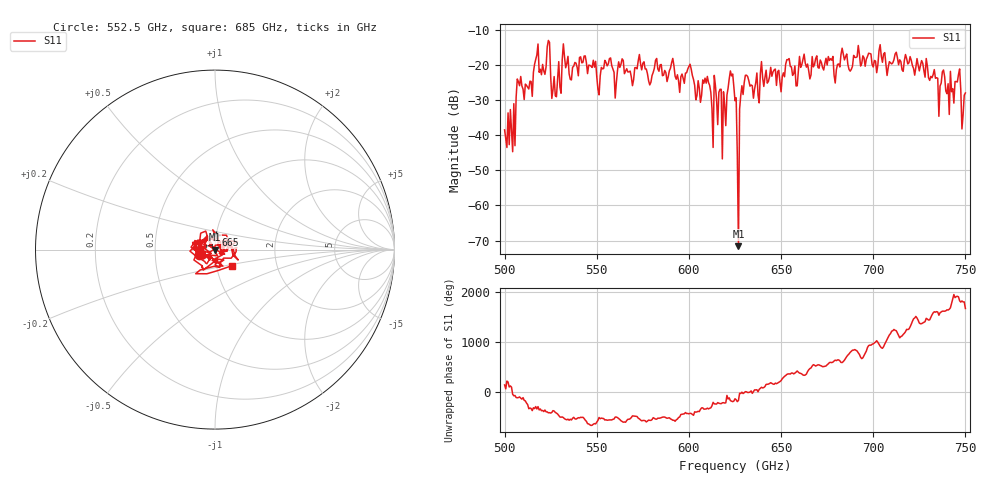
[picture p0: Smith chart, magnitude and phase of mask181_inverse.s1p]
!Created with skrf (http://scikit-rf.org).
# GHz S MA R 50.0
!freq magS11 angS11
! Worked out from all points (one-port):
!   401 points, 500 GHz to 750 GHz, reference 50 ohm
!   lowest |S11| = -71.6 dB at 626.9 GHz (marker M1), VSWR 1.00, Z = 50 - j0.00565 ohm
!   |S11| at or under -10 dB: start of sweep to end of sweep
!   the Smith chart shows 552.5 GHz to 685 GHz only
!   S11 on the Smith chart (normalised r, x): 552.5 GHz: 0.84, -0.05; 665 GHz: 1.00, +0.16; 685 GHz: 1.19, -0.22
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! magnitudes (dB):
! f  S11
! 500 GHz  -38.5
! 505 GHz  -31.1
! 507.5 GHz  -24.8
! 513.8 GHz  -24.7
! 516.9 GHz  -18.5
! 523.8 GHz  -13.1
! 526.9 GHz  -23.4
! 531.2 GHz  -18.6
! 552.5 GHz  -20.7
! 562.5 GHz  -20.8
! 593.8 GHz  -22.8
! 610 GHz  -23.3
! 611.9 GHz  -27.8
! 619.4 GHz  -31.4
! 623.1 GHz  -23.2
! 625 GHz  -30.2
! 625.6 GHz  -29.4
! 626.9 GHz  -71.6
! 628.1 GHz  -28.7
! 628.8 GHz  -26.0
! 631.2 GHz  -23.0
! 656.2 GHz  -23.0
! 665 GHz  -21.7
! 685 GHz  -17.7
! 687.5 GHz  -21.8
! 718.8 GHz  -19.8
! 745.6 GHz  -24.9
! 750 GHz  -28.0
